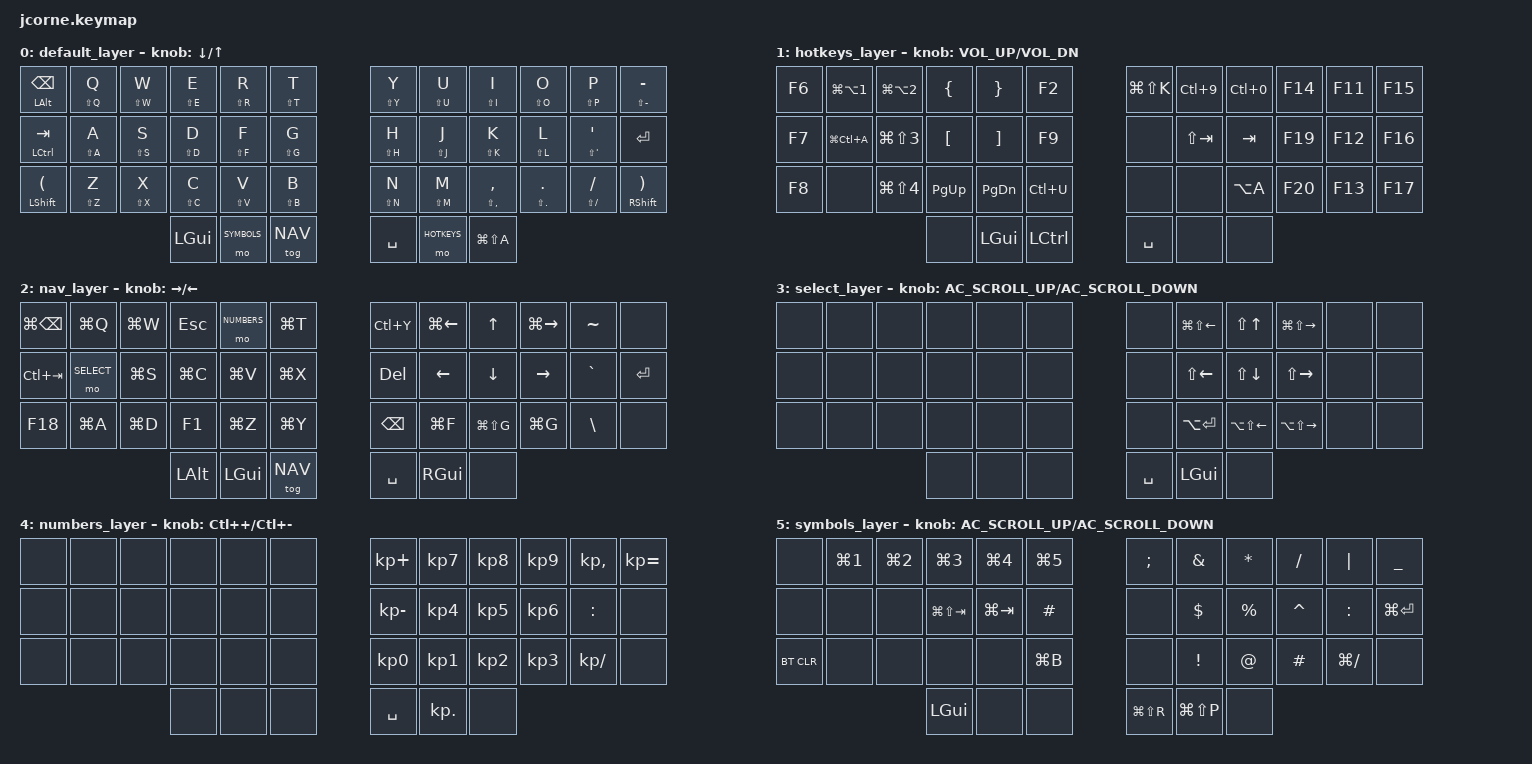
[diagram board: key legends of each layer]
/*
 * Copyright (c) 2020 The ZMK Contributors
 *
 * SPDX-License-Identifier: MIT
 */

#include <behaviors.dtsi>
#include <dt-bindings/zmk/keys.h>
#include <dt-bindings/zmk/bt.h>

#define DEFAULT 0
#define HOTKEYS 1
#define NAV     2
#define SELECT  3
#define NUMBERS 4
#define SYMBOLS 5

/ {
    behaviors {
       as: auto_shift {
               compatible = "zmk,behavior-hold-tap";
               label = "AutoShift";
               #binding-cells = <2>;
               tapping-term-ms = <200>;
               quick_tap_ms = <0>;
               flavor = "tap-preferred";
               bindings = <&kp>, <&kp>;
       };
    };

        keymap {
                compatible = "zmk,keymap";

                default_layer {
// -----------------------------------------------------------------------------------------
// | ALT BSPC |  Q  |  W  |  E  |  R  |  T  |   |  Y  |  U   |  I  |  O  |  P  | MINUS  |
// | CTRL TAB |  A  |  S  |  D  |  F  |  G  |   |  H  |  J   |  K  |  L  |  '  | RET    |
// | SHFT (   |  Z  |  X  |  C  |  V  |  B  |   |  N  |  M   |  ,  |  .  |  /  | SHFT ) |
//                  | GUI  |  SYMBOLS | NAV |   | SPACE | HOTKEYS | CMD SFT A |
                        bindings = <
   &mt LALT BSPC  &as LS(Q) Q &as LS(W) W &as LS(E) E &as LS(R) R &as LS(T) T   &as LS(Y) Y &as LS(U) U &as LS(I) I &as LS(O) O &as LS(P) P &as LS(MINUS) MINUS
   &mt LCTRL TAB  &as LS(A) A &as LS(S) S &as LS(D) D &as LS(F) F &as LS(G) G   &as LS(H) H &as LS(J) J &as LS(K) K &as LS(L) L &as LS(APOS) APOS &kp RET
   &mt LSHFT LPAR &as LS(Z) Z &as LS(X) X &as LS(C) C &as LS(V) V &as LS(B) B   &as LS(N) N &as LS(M) M &as LS(COMMA) COMMA &as LS(DOT) DOT &as LS(FSLH) FSLH &mt RSHFT RPAR
                   &kp LGUI &mo SYMBOLS &tog NAV   &kp SPACE &mo HOTKEYS &kp LG(LS(A))
                        >;
                        sensor-bindings = <&inc_dec_cp DOWN_ARROW UP_ARROW>;
                };
                hotkeys_layer {
// -----------------------------------------------------------------------------------------
// | F6 | GALT 1 | GALT 2 |  {    |  }    | F2    |   | GSFT K | CTL 9 | CTL 0 | F14 | F11 | F15 |
// | F7 | GCTL A | GSFT 3 |  [    |  ]    | F9    |   |        | STAB  | TAB   | F19 | F12 | F16 |
// | F8 |        | GSFT 4 | PG_UP | PG_DN | CTL U |   |        |       | ALT A | F20 | F13 | F17 |
//                        |  --   | LGUI  | LCTRL |   | SPACE  |  --   |  --   |
                        bindings = <
   &kp F6 &kp LG(LA(N1)) &kp LG(LA(N2)) &kp LBRC  &kp RBRC  &kp F2     &kp LG(LS(K)) &kp LC(N9) &kp LC(N0) &kp F14 &kp F11 &kp F15
   &kp F7 &kp LG(LC(A))  &kp LG(LS(N3)) &kp LBKT  &kp RBKT  &kp F9     &none         &kp LS(TAB)  &kp TAB      &kp F19 &kp F12 &kp F16
   &kp F8 &none          &kp LG(LS(N4)) &kp PG_UP &kp PG_DN &kp LC(U)  &none         &none        &kp LA(A)    &kp F20 &kp F13 &kp F17
                                        &none     &kp LGUI  &kp LCTRL  &kp SPACE     &none        &none
                        >;
                        sensor-bindings = <&inc_dec_cp C_VOL_UP C_VOL_DN>;
                };
                nav_layer {
// -----------------------------------------------------------------------------------------
// | G BSPC | LG(Q)  | LG(W) | ESC   | NUMBERS | LG(T) |   | LC(Y) | LG(LEFT) | UP        | LG(RIGHT) | ~ | --  |
// | LC TAB | SELECT | LG(S) | LG(C) | LG(V)   | LG(X) |   | DEL   | LEFT     | DOWN      | RIGHT     | ` | RET |
// | F18    | LG(A)  | LG(D) | F1    | LG(Z)   | LG(Y) |   | BSPC  | LG(F)    | LG(LS(G)) | LG(G)     | \ | --  |
//                           | LALT  | LGUI    |  NAV  |   | SPACE | RGUI     |    --     |
                        bindings = <
   &kp LG(BSPC) &kp LG(Q)  &kp LG(W) &kp ESC   &mo NUMBERS &kp LG(T)   &kp LC(Y) &kp LG(LEFT) &kp UP        &kp LG(RIGHT) &kp TILDE &none
   &kp LC(TAB)  &mo SELECT &kp LG(S) &kp LG(C) &kp LG(V)   &kp LG(X)   &kp DEL   &kp LEFT     &kp DOWN      &kp RIGHT     &kp GRAVE &kp RET
   &kp F18      &kp LG(A)  &kp LG(D) &kp F1    &kp LG(Z)   &kp LG(Y)   &kp BSPC  &kp LG(F)    &kp LG(LS(G)) &kp LG(G)     &kp BSLH  &none
                                     &kp LALT  &kp LGUI    &tog NAV       &kp SPACE &kp RGUI     &none
                        >;
                        sensor-bindings = <&inc_dec_cp RIGHT LEFT>;
                };
                select_layer {
// -----------------------------------------------------------------------------------------
// | -- | -- | -- | -- | -- | -- |   | --    | LG(LS(LEFT)) | LS(UP)       | LG(LS(RIGHT)) | -- | -- |
// | -- | -- | -- | -- | -- | -- |   | --    | LS(LEFT)     | LS(DOWN)     | LS(RIGHT)     | -- | -- |
// | -- | -- | -- | -- | -- | -- |   | --    | LA(RET)      | LA(LS(LEFT)) | LA(LS(RIGHT)) | -- | -- |
//                | -- | -- | -- |   | SPACE | LGUI         | -- |
                        bindings = <
   &none &none &none &none &none &none    &none     &kp LG(LS(LEFT)) &kp LS(UP)       &kp LG(LS(RIGHT)) &none &none
   &none &none &none &none &none &none    &none     &kp LS(LEFT)     &kp LS(DOWN)     &kp LS(RIGHT)     &none &none
   &none &none &none &none &none &none    &none     &kp LA(RET)      &kp LA(LS(LEFT)) &kp LA(LS(RIGHT)) &none &none
                     &none &none &none    &kp SPACE &kp LGUI         &none
                        >;
                        sensor-bindings = <&inc_dec_cp C_AC_SCROLL_UP C_AC_SCROLL_DOWN>;
                };
                numbers_layer {
// -----------------------------------------------------------------------------------------
// | -- | -- | -- | -- | -- | -- |   | + | 7 | 8 | 9 | , | = |
// | -- | -- | -- | -- | -- | -- |   | - | 4 | 5 | 6 | : |  |
// | -- | -- | -- | -- | -- | -- |   | 0 | 1 | 2 | 3 | / | -- |
//                | -- | -- | -- |   | SPACE | KP_DOT | -- |
                        bindings = <
   &none &none &none &none &none &none   &kp KP_PLUS  &kp KP_N7  &kp KP_N8 &kp KP_N9 &kp KP_COMMA  &kp KP_EQUAL
   &none &none &none &none &none &none   &kp KP_MINUS &kp KP_N4  &kp KP_N5 &kp KP_N6 &kp COLON     &none
   &none &none &none &none &none &none   &kp KP_N0    &kp KP_N1  &kp KP_N2 &kp KP_N3 &kp KP_DIVIDE &none
                     &none &none &none   &kp SPACE    &kp KP_DOT &none
                        >;
                        sensor-bindings = <&inc_dec_cp LC(PLUS) LC(MINUS)>;
                };
                symbols_layer {
// -----------------------------------------------------------------------------------------
// | --     | LG(1) | LG(2) | LG(3)       | LG(4)   | LG(5) |   | ;  | & | * | / | PIPE  |   _     |
// | --     |  --   |  --   | LG(LS(TAB)) | LG(TAB) | #     |   | -- | $ | % | ^ |  :    | LG(RET) |
// | BT_CLR |  --   |  --   |     --      |   --    | LG(B) |   | -- | ! | @ | # | LG(/) |   --    |
//                                        | LGUI  | -- | -- |   | LG(LS(R)) | LG(LS(P))  | -- |
                        bindings = <
   &none      &kp LG(N1) &kp LG(N2) &kp LG(N3)       &kp LG(N4)   &kp LG(N5)   &kp SEMI &kp AMPS   &kp ASTRK   &kp FSLH  &kp PIPE     &kp UNDER
   &none      &none      &none      &kp LG(LS(TAB))  &kp LG(TAB)  &kp HASH     &none    &kp DOLLAR &kp PERCENT &kp CARET &kp COLON    &kp LG(RET)
   &bt BT_CLR &none      &none      &none            &none        &kp LG(B)    &none    &kp EXCL   &kp AT_SIGN &kp HASH  &kp LG(FSLH) &none
                                                       &kp LGUI &none &none    &kp LG(LS(R)) &kp LG(LS(P)) &none
                        >;
                        sensor-bindings = <&inc_dec_cp C_AC_SCROLL_UP C_AC_SCROLL_DOWN>;
                };
        };
};
